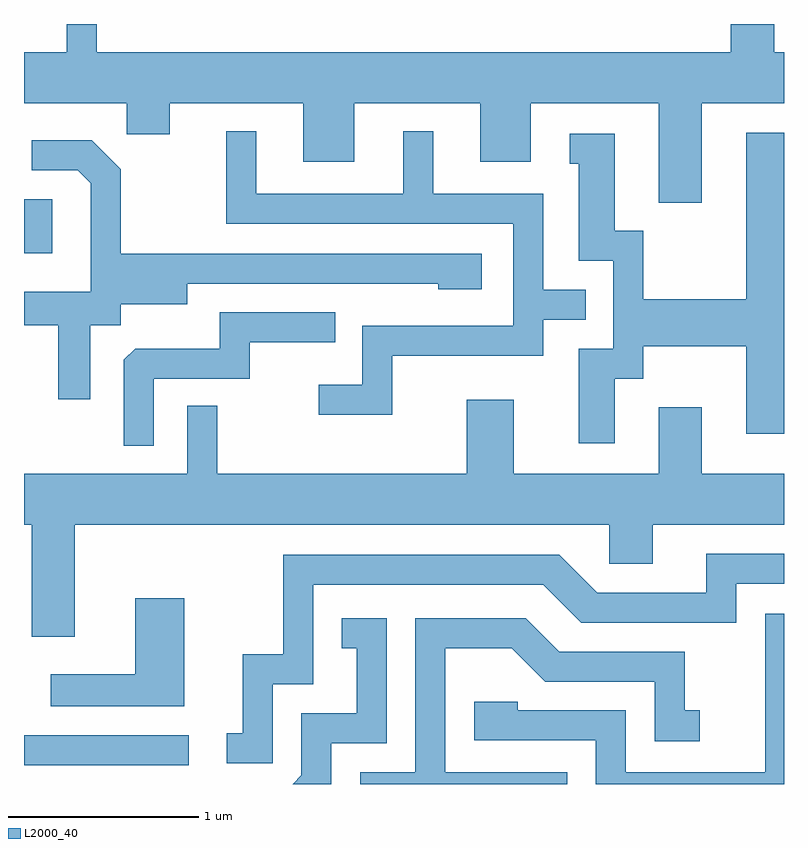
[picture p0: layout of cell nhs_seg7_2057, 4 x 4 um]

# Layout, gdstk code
import gdstk
lib = gdstk.Library(unit=1e-6, precision=1e-09)
def R(c, l, rs):  # rectangles x0, y0, x1, y1
    for r in rs: c.add(gdstk.rectangle(r[:2], r[2:], *l))
def P(c, l, *ps):  # polygons
    for p in ps: c.add(gdstk.Polygon(p, *l))
L2000_40 = (2000, 40)

nhs_seg7_2057 = lib.new_cell('nhs_seg7_2057')
R(nhs_seg7_2057, L2000_40, [(247.611,1746.351,248.478,1746.509), (247.611,1749.046,247.759,1749.329)])
P(nhs_seg7_2057, L2000_40, [(247.994,1750.252),(247.836,1750.252),(247.836,1750.104),(247.611,1750.104),(247.611,1749.836),(248.151,1749.836),(248.151,1749.671),(248.379,1749.671),(248.379,1749.836),(249.081,1749.836),(249.081,1749.526),(249.349,1749.526),(249.349,1749.836),(250.011,1749.836),(250.011,1749.526),(250.279,1749.526),(250.279,1749.836),(250.951,1749.836),(250.951,1749.311),(251.179,1749.311),(251.179,1749.836),(251.611,1749.836),(251.611,1750.104),(251.559,1750.104),(251.559,1750.252),(251.331,1750.252),(251.331,1750.104),(247.994,1750.104)],
  [(249.549,1748.506),(250.344,1748.506),(250.344,1748.696),(250.568,1748.696),(250.568,1748.854),(250.344,1748.854),(250.344,1749.359),(249.764,1749.359),(249.764,1749.688),(249.606,1749.688),(249.606,1749.359),(248.834,1749.359),(248.834,1749.688),(248.676,1749.688),(248.676,1749.201),(250.186,1749.201),(250.186,1748.664),(249.391,1748.664),(249.391,1748.354),(249.163,1748.354),(249.163,1748.196),(249.549,1748.196)],
  [(250.719,1748.386),(250.869,1748.386),(250.869,1748.556),(251.411,1748.556),(251.411,1748.096),(251.611,1748.096),(251.611,1749.679),(251.411,1749.679),(251.411,1748.804),(250.869,1748.804),(250.869,1749.164),(250.719,1749.164),(250.719,1749.674),(250.483,1749.674),(250.483,1749.516),(250.531,1749.516),(250.531,1749.006),(250.711,1749.006),(250.711,1748.544),(250.531,1748.544),(250.531,1748.046),(250.719,1748.046)],
  [(247.959,1748.666),(248.119,1748.666),(248.119,1748.776),(248.469,1748.776),(248.469,1748.886),(249.791,1748.886),(249.791,1748.856),(250.019,1748.856),(250.019,1749.044),(248.119,1749.044),(248.119,1749.487),(247.967,1749.639),(247.653,1749.639),(247.653,1749.481),(247.894,1749.481),(247.961,1749.414),(247.961,1748.844),(247.611,1748.844),(247.611,1748.666),(247.791,1748.666),(247.791,1748.278),(247.959,1748.278)],
  [(248.294,1748.386),(248.799,1748.386),(248.799,1748.576),(249.248,1748.576),(249.248,1748.734),(248.641,1748.734),(248.641,1748.544),(248.197,1748.544),(248.136,1748.484),(248.136,1748.033),(248.294,1748.033)],
  [(247.879,1747.616),(250.691,1747.616),(250.691,1747.411),(250.919,1747.411),(250.919,1747.616),(251.611,1747.616),(251.611,1747.884),(251.179,1747.884),(251.179,1748.234),(250.951,1748.234),(250.951,1747.884),(250.189,1747.884),(250.189,1748.274),(249.941,1748.274),(249.941,1747.884),(248.629,1747.884),(248.629,1748.243),(248.471,1748.243),(248.471,1747.884),(247.611,1747.884),(247.611,1747.616),(247.651,1747.616),(247.651,1747.026),(247.879,1747.026)],
  [(248.919,1746.776),(249.134,1746.776),(249.134,1747.301),(250.344,1747.301),(250.544,1747.101),(251.359,1747.101),(251.359,1747.306),(251.611,1747.306),(251.611,1747.464),(251.201,1747.464),(251.201,1747.259),(250.627,1747.259),(250.427,1747.459),(248.976,1747.459),(248.976,1746.934),(248.761,1746.934),(248.761,1746.519),(248.678,1746.519),(248.678,1746.361),(248.919,1746.361)],
  [(248.454,1747.229),(248.196,1747.229),(248.196,1746.829),(247.753,1746.829),(247.753,1746.661),(248.454,1746.661)],
  [(251.611,1747.149),(251.511,1747.149),(251.511,1746.314),(250.779,1746.314),(250.779,1746.639),(250.209,1746.639),(250.209,1746.684),(249.981,1746.684),(249.981,1746.481),(250.621,1746.481),(250.621,1746.252),(251.611,1746.252)],
  [(250.469,1746.314),(249.829,1746.314),(249.829,1746.966),(250.179,1746.966),(250.354,1746.791),(250.931,1746.791),(250.931,1746.476),(251.168,1746.476),(251.168,1746.639),(251.089,1746.639),(251.089,1746.949),(250.427,1746.949),(250.252,1747.124),(249.671,1747.124),(249.671,1746.314),(249.381,1746.314),(249.381,1746.252),(250.469,1746.252)],
  [(249.229,1746.466),(249.519,1746.466),(249.519,1747.124),(249.283,1747.124),(249.283,1746.966),(249.361,1746.966),(249.361,1746.624),(249.071,1746.624),(249.071,1746.297),(249.026,1746.252),(249.229,1746.252)])

lib.write_gds('nhs_seg7_2057.gds')
